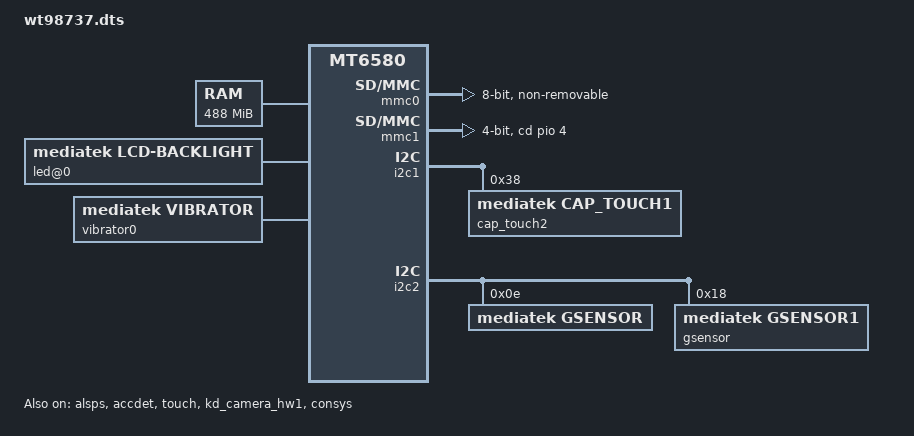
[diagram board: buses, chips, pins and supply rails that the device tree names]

/dts-v1/;

#include "mt6580.dtsi"
#include "wt6580_we_n_battery.dtsi"   /* WT.sunxuebin add for AC charger */

/ {
	memory@80000000 {
		device_type = "memory";
		reg = <0 0x80000000 0 0x1E800000>;
	};

	bus {
		compatible = "simple-bus";
		#address-cells = <1>;
		#size-cells = <1>;
		ranges = <0 0 0 0xffffffff>;
	};

	led@0 {
		compatible = "mediatek,lcd-backlight";
		led_mode = <5>;
		data = <1>;
		pwm_config = <0 0 0 0 0>;
	};
	vibrator0:vibrator@0 {
		compatible = "mediatek,vibrator";
		vib_timer = <25>;
		vib_limit = <9>;
		vib_vol= <6>;
	};

	/* chosen */
chosen {
	bootargs = "console=tty0 console=ttyMT0,921600n1 root=/dev/ram initrd=0x84000000,0x400000 loglevel=8";
	/* fpga may has no lk, we need to specify display info here */
	/* fb buffer is reserved using this dts by memory node above */
	atag,videolfb-fb_base = <0x9E800000>;
	atag,videolfb-islcmfound = <1>;
	atag,videolfb-fps= <6000>;
	atag,videolfb-vramSize= <0x01800000>;
	atag,videolfb-lcmname= "nt35590_AUO";
};
	/*  start sensor */
	cust_accel@0 {
		compatible = "mediatek,kxtj2_1009";
		i2c_num	= <2>;
		i2c_addr = <0x0e 0 0 0>;
		direction = <5>;
		power_id = <0xffff>;
		power_vol = <0>;
		firlen = <16>;
		is_batch_supported = <1>;
		};

	cust_accel@1 {
		compatible = "mediatek,bma253";
		i2c_num	= <2>;
		i2c_addr = <0x18 0 0 0>;
		direction = <5>;
		power_id = <0xffff>;
		power_vol = <0>;
		firlen = <16>;
		is_batch_supported = <1>;
		};
	/* end sensor */
};

/* mmc start */
&mmc0 {
	clk_src = /bits/ 8 <MSDC0_CLKSRC_208MHZ>;
	bus-width = <8>;
	max-frequency = <208000000>;
	cap-mmc-highspeed;
	msdc-sys-suspend;
	mmc-hs200-1_8v;
	non-removable;
	pinctl = <&mmc0_pins_default>;
	register_setting = <&mmc0_register_setting_default>;
	host_function = /bits/ 8 <MSDC_EMMC>;
	bootable;
	status = "okay";
};

&mmc1 {
	clk_src = /bits/ 8 <MSDC1_CLKSRC_187MHZ>;
	bus-width = <4>;
	max-frequency = <208000000>;
	msdc-sys-suspend;
	cap-sd-highspeed;
	sd-uhs-sdr12;
	sd-uhs-sdr25;
	sd-uhs-sdr50;
	pinctrl-names = "default","insert_cfg";
	pinctrl-0 = <&mmc1_pins_insert_default>;
	pinctrl-1 = <&mmc1_pins_insert_cfg>;
	pinctl = <&mmc1_pins_default>;
	pinctl_sdr104 = <&mmc1_pins_sdr104>;
	pinctl_sdr50 = <&mmc1_pins_sdr50>;
	pinctl_ddr50 = <&mmc1_pins_ddr50>;
	register_setting = <&mmc1_register_setting_default>;
	host_function = /bits/ 8 <MSDC_SD>;
	cd_level = /bits/ 8 <MSDC_CD_LOW>;
	cd-gpios = <&pio 4 0>;
	status = "okay";
};

&pio {
	mmc0_pins_default: mmc0@default {
		pins_cmd {
			drive-strength = /bits/ 8 <2>;
		};
		pins_dat {
			drive-strength = /bits/ 8 <2>;
		};
		pins_clk {
			drive-strength = /bits/ 8 <2>;
		};
		pins_rst {
			drive-strength = /bits/ 8 <2>;
		};
		pins_ds {
			drive-strength = /bits/ 8 <2>;
		};
	};

	mmc0_register_setting_default: mmc0@register_default {
		dat0rddly      = /bits/ 8 <0>;
		dat1rddly      = /bits/ 8 <0>;
		dat2rddly      = /bits/ 8 <0>;
		dat3rddly      = /bits/ 8 <0>;
		dat4rddly      = /bits/ 8 <0>;
		dat5rddly      = /bits/ 8 <0>;
		dat6rddly      = /bits/ 8 <0>;
		dat7rddly      = /bits/ 8 <0>;
		datwrddly      = /bits/ 8 <0>;
		cmdrrddly      = /bits/ 8 <0>;
		cmdrddly       = /bits/ 8 <0>;
		cmd_edge = /bits/ 8 <MSDC_SMPL_FALLING>;
		rdata_edge = /bits/ 8 <MSDC_SMPL_FALLING>;
		wdata_edge = /bits/ 8 <MSDC_SMPL_FALLING>;

		ett-hs200-cells = <12>;
		ett-hs200-default = <OFFSET_MSDC_PATCH_BIT0	MSDC_PB0_INT_DAT_LATCH_CK_SEL 0x0
			OFFSET_MSDC_PATCH_BIT0  MSDC_PB0_CKGEN_MSDC_DLY_SEL   0x0
			OFFSET_MSDC_PATCH_BIT1  MSDC_PB1_CMD_RSP_TA_CNTR      0x1
			OFFSET_MSDC_IOCON       MSDC_IOCON_RSPL               0x1
			OFFSET_MSDC_PAD_TUNE0   MSDC_PAD_TUNE0_CMDRDLY        0x0
			OFFSET_MSDC_PAD_TUNE0   MSDC_PAD_TUNE0_CMDRRDLY       0x0
			OFFSET_MSDC_PATCH_BIT1  MSDC_PB1_WRDAT_CRCS_TA_CNTR   0x1
			OFFSET_MSDC_PAD_TUNE0   MSDC_PAD_TUNE0_DATWRDLY       0x0
			OFFSET_MSDC_IOCON       MSDC_IOCON_W_D_SMPL           0x1
			OFFSET_MSDC_DAT_RDDLY0  MSDC_DAT_RDDLY0_D0            0x0
			OFFSET_MSDC_PAD_TUNE0   MSDC_PAD_TUNE0_DATRRDLY       0x0
			OFFSET_MSDC_PATCH_BIT0  MSDC_PB0_RD_DAT_SEL           0x1>;
	};

	mmc1_pins_default: mmc1@default {
		pins_cmd {
			drive-strength = /bits/ 8 <3>;
		};
		pins_dat {
			drive-strength = /bits/ 8 <3>;
		};
		pins_clk {
			drive-strength = /bits/ 8 <3>;
		};
	};

	mmc1_pins_insert_default: mmc1_ins_default {
	};
	mmc1_pins_insert_cfg: mmc1_ins_cfg {
		pins_insert {
			pins = <PINMUX_GPIO4__FUNC_EINT4>;
			input-schmitt-enable =<1>;
			slew-rate = <0>;
			bias-pull-up =<00>;
		};
	};

	mmc1_pins_sdr104: mmc1@sdr104 {
		pins_cmd {
			drive-strength = /bits/ 8 <2>;
		};
		pins_dat {
			drive-strength = /bits/ 8 <2>;
		};
		pins_clk {
			drive-strength = /bits/ 8 <3>;
		};
	};

	mmc1_pins_sdr50: mmc1@sdr50 {
		pins_cmd {
			drive-strength = /bits/ 8 <2>;
		};
		pins_dat {
			drive-strength = /bits/ 8 <2>;
		};
		pins_clk {
			drive-strength = /bits/ 8 <3>;
		};
	};

	mmc1_pins_ddr50: mmc1@ddr50 {
		pins_cmd {
			drive-strength = /bits/ 8 <2>;
		};
		pins_dat {
			drive-strength = /bits/ 8 <2>;
		};
		pins_clk {
			drive-strength = /bits/ 8 <3>;
		};
	};

	mmc1_register_setting_default: mmc1@register_default {
		dat0rddly      = /bits/ 8 <0>;
		dat1rddly      = /bits/ 8 <0>;
		dat2rddly      = /bits/ 8 <0>;
		dat3rddly      = /bits/ 8 <0>;
		datwrddly      = /bits/ 8 <0>;
		cmdrrddly      = /bits/ 8 <0>;
		cmdrddly       = /bits/ 8 <0>;
		cmd_edge = /bits/ 8 <MSDC_SMPL_FALLING>;
		rdata_edge = /bits/ 8 <MSDC_SMPL_FALLING>;
		wdata_edge = /bits/ 8 <MSDC_SMPL_FALLING>;
	};
};
/* mmc end */

&pio {
	alsps_intpin_cfg: alspspincfg {
	    pins_cmd_dat {
			pins = <PINMUX_GPIO6__FUNC_EINT6>;
			slew-rate = <0>;
			bias-pull-up = <00>;
		};
	};
	alsps_intpin_default: alspsdefaultcfg {
	};
};
&alsps {
	pinctrl-names = "pin_default", "pin_cfg";
	pinctrl-0 = <&alsps_intpin_default>;
	pinctrl-1 = <&alsps_intpin_cfg>;
	status = "okay";
};
&accdet {
	accdet-mic-vol = <7>;
	headset-mode-setting = <0x500 0x200 1 0x1F0 0x800 0x800 0x20>;
	accdet-plugout-debounce = <20>;
	/*1:ACC mode, 2:low cost without in bias, 6:low cost with in bias*/
	accdet-mic-mode = <1>;
	/*0--MD_MAX--UP_MAX--DW_MAX*/
	headset-three-key-threshold = <0 90 200 500>;
	/*0--MD_MAX--VOICE_MAX--UP_MAX--DW_MAX*/
	headset-four-key-threshold = <0 60 126 201 450>;
	/* ACCDET GPIO standardization ACC mode use */
	pinctrl-names = "default", "state_eint_as_int";
	pinctrl-0 = <&ACCDET_pins_default>;
	pinctrl-1 = <&ACCDET_pins_eint_as_int>;
	status = "okay";
};
&pio {
	ACCDET_pins_default: eint0default {
	};
	ACCDET_pins_eint_as_int: eint@3 {
		pins_cmd_dat {
			pins = <PINMUX_GPIO3__FUNC_EINT3>;
			slew-rate = <0>;
			bias-disable;
		};
	};
};
/*ACCDET END*/

/* TOUCH GPIO standardization */
&touch {
	tpd-resolution = <480 854>;
	use-tpd-button = <1>;
	tpd-key-num = <3>;
	tpd-key-local= <158 172 139 0>;
	tpd-key-dim-local = <90 883 100 40 230 883 100 40 370 883 100 40 0 0 0 0>;
	tpd-max-touch-num = <2>;
	tpd-filter-enable = <1>;
	tpd-filter-pixel-density = <124>;
	tpd-filter-custom-prameters = <0 0 0 0 0 0 0 0 0 0 0 0>;
	tpd-filter-custom-speed = <0 0 0>;
	pinctrl-names = "default", "state_eint_as_int", "state_eint_output0", "state_eint_output1",
		"state_rst_output0", "state_rst_output1","state_eint_suspend";
	pinctrl-0 = <&ctp_pins_default>;
	pinctrl-1 = <&ctp_pins_eint_as_int>;
	pinctrl-2 = <&ctp_pins_eint_output0>;
	pinctrl-3 = <&ctp_pins_eint_output1>;
	pinctrl-4 = <&ctp_pins_rst_output0>;
	pinctrl-5 = <&ctp_pins_rst_output1>;
	pinctrl-6 = <&ctp_pins_eint_suspend>;
	status = "okay";
};
&pio {
	ctp_pins_default: toucheint5default {
	};
	ctp_pins_eint_as_int: toucheint@5 {
		pins_cmd_dat {
			pins = <PINMUX_GPIO5__FUNC_EINT5>;
			slew-rate = <0>;
			bias-disable;
		};
	};
	ctp_pins_eint_suspend: toucheint@5 {
		pins_cmd_dat {
			pins = <PINMUX_GPIO5__FUNC_EINT5>;
			slew-rate = <0>;
			bias-pull-down;
		};
	};
	ctp_pins_eint_output0: eintoutput0 {
		pins_cmd_dat {
			pins = <PINMUX_GPIO5__FUNC_GPIO5>;
			slew-rate = <1>;
			output-low;
		};
	};
	ctp_pins_eint_output1: eintoutput1 {
		pins_cmd_dat {
			pins = <PINMUX_GPIO5__FUNC_GPIO5>;
			slew-rate = <1>;
			output-high;
		};
	};
	ctp_pins_rst_output0: rstoutput0 {
		pins_cmd_dat {
			pins = <PINMUX_GPIO2__FUNC_GPIO2>;
			slew-rate = <1>;
			output-low;
		};
	};
	ctp_pins_rst_output1: rstoutput1 {
		pins_cmd_dat {
			pins = <PINMUX_GPIO2__FUNC_GPIO2>;
			slew-rate = <1>;
			output-high;
		};
	};
};
&i2c1 {
	#address-cells = <1>;
	#size-cells = <0>;
	cap_touch2@38 {
		compatible = "mediatek,cap_touch1";
		reg = <0x38>;
		status = "okay";
		
	};

};
/* TOUCH end */

/* AUDIO GPIO standardization */
&audgpio {
	pinctrl-names = "default", "audpmicclk-mode0", "audpmicclk-mode1";
	pinctrl-0 = <&AUD_pins_default>;
	pinctrl-1 = <&AUD_pins_pmicclk_mode0>;
	pinctrl-2 = <&AUD_pins_pmicclk_mode1>;
	status = "okay";
};
&pio {
	AUD_pins_default: audiodefault {
	};
	AUD_pins_pmicclk_mode0: pmicclkmode0 {
		pins_cmd0_dat {
			pins = <PINMUX_GPIO26__FUNC_GPIO26>;
		};
		pins_cmd1_dat {
			pins = <PINMUX_GPIO28__FUNC_GPIO28>;
		};
		pins_cmd2_dat {
			pins = <PINMUX_GPIO27__FUNC_GPIO27>;
		};
	};
	AUD_pins_pmicclk_mode1: pmicclkmode1 {
		pins_cmd0_dat {
			pins = <PINMUX_GPIO26__FUNC_AUD_CLK_MOSI>;
		};
		pins_cmd1_dat {
			pins = <PINMUX_GPIO28__FUNC_AUD_DAT_MISO>;
		};
		pins_cmd2_dat {
			pins = <PINMUX_GPIO27__FUNC_AUD_DAT_MOSI>;
		};
	};
};
/* AUDIO end */
/*LCD */
&dispsys {
	lcm_power_rst_gpio = <&pio 70 0>;
};
/*LCD END*/
/* CAMERA GPIO standardization */
&pio {
	camera_pins_cam0_rst0: cam0@0 {
	    pins_cmd_dat {
			pins = <PINMUX_GPIO73__FUNC_GPIO73>;/*GPIO_CAMERA_CMRST_PIN*/
			slew-rate = <1>; /*direction 0:in, 1:out*/
			output-low;/*direction out used only. output_low or high*/
		};
	};
	camera_pins_cam0_rst1: cam0@1 {
	    pins_cmd_dat {
			pins = <PINMUX_GPIO73__FUNC_GPIO73>;/*GPIO_CAMERA_CMRST_PIN*/
			slew-rate = <1>;
			output-high;
		};
	};
	camera_pins_cam0_pnd0: cam0@2 {
	    pins_cmd_dat {
			pins = <PINMUX_GPIO71__FUNC_GPIO71>;/*GPIO_CAMERA_CMPDN_PIN*/
			slew-rate = <1>;
			output-low;
		};
	};
	camera_pins_cam0_pnd1: cam0@3 {
	    pins_cmd_dat {
			pins = <PINMUX_GPIO71__FUNC_GPIO71>;/*GPIO_CAMERA_CMPDN_PIN*/
			slew-rate = <1>;
			output-high;
		};
	};
	camera_pins_cam1_rst0: cam1@0 {
	    pins_cmd_dat {
			pins = <PINMUX_GPIO76__FUNC_GPIO76>;/*GPIO_CAMERA_CMRST1_PIN*/
			slew-rate = <1>; /*direction 0:in, 1:out*/
			output-low;/*direction out used only. output_low or high*/
		};
	};
	camera_pins_cam1_rst1: cam1@1 {
	    pins_cmd_dat {
			pins = <PINMUX_GPIO76__FUNC_GPIO76>;/*GPIO_CAMERA_CMRST1_PIN*/
			slew-rate = <1>;
			output-high;
		};
	};
	camera_pins_cam1_pnd0: cam1@2 {
	    pins_cmd_dat {
			pins = <PINMUX_GPIO74__FUNC_GPIO74>;/*GPIO_CAMERA_CMPDN1_PIN*/
			slew-rate = <1>;
			output-low;
		};
	};
	camera_pins_cam1_pnd1: cam1@3 {
	    pins_cmd_dat {
			pins = <PINMUX_GPIO74__FUNC_GPIO74>;/*GPIO_CAMERA_CMPDN1_PIN*/
			slew-rate = <1>;
			output-high;
		};
	};
	camera_pins_cam_ldo0_0: cam@0 {
	};
	camera_pins_cam_ldo0_1: cam@1 {
	};
	camera_pins_default: camdefault {
	};
	camera_pins_cam1_gpio_serial: cam1serial@0{
	    pins_cmd_dat {
			pins = <PINMUX_GPIO35__FUNC_CMCSK>;
		};
	    pins_cmd_dat1 {
			pins = <PINMUX_GPIO36__FUNC_CMCSD0>;
		};
	    pins_cmd_dat2 {
			pins = <PINMUX_GPIO37__FUNC_CMCSD1>;
		};
	    pins_cmd_dat3 {
			pins = <PINMUX_GPIO38__FUNC_CMCSD2>;
		};
	    pins_cmd_dat4 {
			pins = <PINMUX_GPIO39__FUNC_CMCSD3>;
		};
	};
	camera_pins_cam1_gpio_mipi: cam1mipi@0{
	    pins_cmd_dat {
			pins = <PINMUX_GPIO35__FUNC_PAD_RDP0_A>;
		};
	    pins_cmd_dat1 {
			pins = <PINMUX_GPIO36__FUNC_PAD_RDN0_A>;
		};
	    pins_cmd_dat2 {
			pins = <PINMUX_GPIO37__FUNC_PAD_RDP1_A>;
		};
	    pins_cmd_dat3 {
			pins = <PINMUX_GPIO38__FUNC_PAD_RDN1_A>;
		};
	    pins_cmd_dat4 {
			pins = <PINMUX_GPIO39__FUNC_PAD_RCP_A>;
		};
	    pins_cmd_dat5 {
			pins = <PINMUX_GPIO40__FUNC_PAD_RCN_A>;
		};
	};
	camera_pins_cam_mclk1_enable: mclk1enable@0{
		pins_cmd_dat {
			pins = <PINMUX_GPIO72__FUNC_CAM_CLK0>;
		};
	};
	camera_pins_cam_mclk1_disable: mclk1disable@0{
	   pins_cmd_dat {
			pins = <PINMUX_GPIO72__FUNC_GPIO72>;
		};
	};
	camera_pins_cam_mclk2_enable: mclk2enable@0{
		pins_cmd_dat {
			pins = <PINMUX_GPIO75__FUNC_CAM_CLK1>;
		};
	};
	camera_pins_cam_mclk2_disable: mclk2disable@0{
		pins_cmd_dat {
			pins = <PINMUX_GPIO75__FUNC_GPIO75>;
		};
	};


};
&kd_camera_hw1 {
	pinctrl-names = "default", "cam0_rst0", "cam0_rst1", "cam0_pnd0", "cam0_pnd1",
				   "cam1_rst0", "cam1_rst1", "cam1_pnd0", "cam1_pnd1",
				   "cam_ldo0_0", "cam_ldo0_1", "cam1_gpio_serial", "cam1_gpio_mipi",
				   "cam_mclk1_enable","cam_mclk1_disable",
				   "cam_mclk2_enable","cam_mclk2_disable";
	pinctrl-0 = <&camera_pins_default>;
	pinctrl-1 = <&camera_pins_cam0_rst0>;
	pinctrl-2 = <&camera_pins_cam0_rst1>;
	pinctrl-3 = <&camera_pins_cam0_pnd0>;
	pinctrl-4 = <&camera_pins_cam0_pnd1>;
	pinctrl-5 = <&camera_pins_cam1_rst0>;
	pinctrl-6 = <&camera_pins_cam1_rst1>;
	pinctrl-7 = <&camera_pins_cam1_pnd0>;
	pinctrl-8 = <&camera_pins_cam1_pnd1>;
	pinctrl-9 = <&camera_pins_cam_ldo0_0>;
	pinctrl-10 = <&camera_pins_cam_ldo0_1>;
	pinctrl-11 = <&camera_pins_cam1_gpio_serial>;
	pinctrl-12 = <&camera_pins_cam1_gpio_mipi>;
	pinctrl-13 = <&camera_pins_cam_mclk1_enable>;
	pinctrl-14 = <&camera_pins_cam_mclk1_disable>;
	pinctrl-15 = <&camera_pins_cam_mclk2_enable>;
	pinctrl-16 = <&camera_pins_cam_mclk2_disable>;

	status = "okay";
};
/* CAMERA GPIO end */

/* CONSYS GPIO standardization */
&pio {
	consys_pins_default: default {

	};

	gpslna_pins_init: gpslna@0 {

		pins_cmd_dat {
			pins = <PINMUX_GPIO19__FUNC_GPIO19>;
			slew-rate = <0>;
			bias-disable;
			output-low;
		};
	};

	gpslna_pins_oh: gpslna@1 {

		pins_cmd_dat {
			pins = <PINMUX_GPIO19__FUNC_GPIO19>;
			slew-rate = <1>;
			output-high;
		};
	};

	gpslna_pins_ol: gpslna@2 {

		pins_cmd_dat {
			pins = <PINMUX_GPIO19__FUNC_GPIO19>;
			slew-rate = <1>;
			output-low;
		};
	};

};

&consys {
	pinctrl-names = "default", "gps_lna_state_init", "gps_lna_state_oh", "gps_lna_state_ol";
	pinctrl-0 = <&consys_pins_default>;
	pinctrl-1 = <&gpslna_pins_init>;
	pinctrl-2 = <&gpslna_pins_oh>;
	pinctrl-3 = <&gpslna_pins_ol>;
	status = "okay";

};
/* CONSYS end */

&i2c2 {
     gsensor@0e {
		compatible = "mediatek,gsensor";
		reg = <0x0e>;
		status = "okay";
	       };
    gsensor@18 {
		compatible = "mediatek,gsensor1";
		reg = <0x18>;
		status = "okay";
	       };
};
